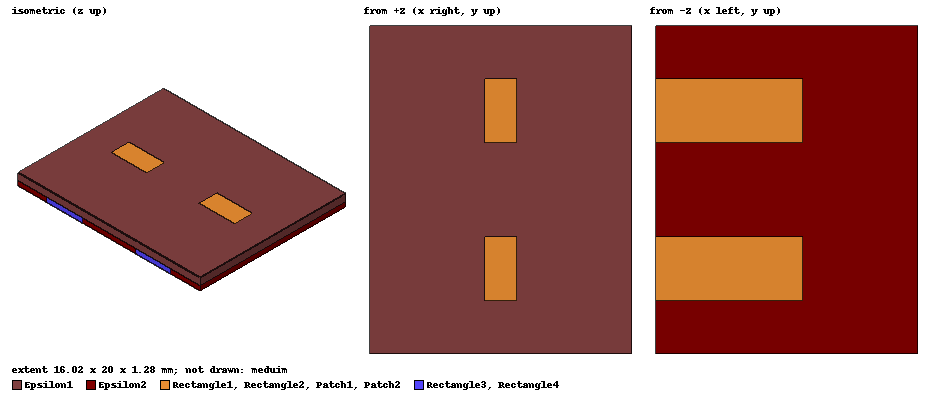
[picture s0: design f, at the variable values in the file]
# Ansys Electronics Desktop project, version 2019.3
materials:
  vacuum: permittivity=1
  Rogers RO3003 (tm): permittivity=3 dielectric_loss_tangent=0.0013
  FR4_epoxy: permittivity=4.4 dielectric_loss_tangent=0.02
  Rogers RO4350 (tm): permittivity=3.66 dielectric_loss_tangent=0.004
  air: permittivity=1.0006 permeability=1.0000004
  copper: permeability=0.999991 conductivity=58000000

design f (HFSS, DrivenModal, model units mm)
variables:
  L = 3.9mm
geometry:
  Ground = rectangle(corner=((-16/2) mm, (-20/2) mm, 0.5mm), x_size=16mm, y_size=20mm)
  Slot = rectangle(corner=((-0.3/2) mm, (-2.4/2-3.9/2-2.88) mm, 0.5mm), x_size=0.3mm, y_size=2.4mm)
  Ground.subtract(Slot)
  Epsilon2 [Rogers RO4350 (tm)] = box(corner=((-16/2) mm, (-20/2) mm, 0mm), size=(16mm, 20mm, 0.5mm))
  Epsilon1 [Rogers RO4350 (tm)] = box(corner=((-16/2) mm, (-20/2) mm, 0.5mm), size=(16mm, 20mm, 0.78mm))
  Patch1 = rectangle(corner=((-1.96/2) mm, -2.88mm, 1.28mm), x_size=1.96mm, y_size=-3.9mm)
  meduim [air] = box(corner=((-20/2) mm, (-50/2) mm, (-10/2) mm), size=(20mm, 50mm, 10mm))
  Patch2 = rectangle(corner=((-1.96/2) mm, 2.88mm, 1.28mm), x_size=1.96mm, y_size=3.9mm)
  Slot1 = rectangle(corner=((-0.3/2) mm, (-2.4/2+3.9/2+2.88) mm, 0.5mm), x_size=0.3mm, y_size=2.4mm)
  Ground.subtract(Slot1)
  Rectangle1 = rectangle(corner=((-1.96/2) mm, (-2.88-L/2 ) mm, 0mm), x_size=9mm, y_size=-L)
  Rectangle2 = rectangle(corner=((-1.96/2) mm, (2.88 +L/2) mm, 0mm), x_size=9mm, y_size=L)
  Rectangle3 = rectangle(corner=((16/2) mm, (L+2.88) mm, 0mm), y_size=L, z_size=0.5mm)
  Rectangle4 = rectangle(corner=((16/2) mm, (-L-2.88) mm, 0mm), y_size=-L, z_size=0.5mm)
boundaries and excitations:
  PerfE2: Perfect E Objects=Ground
  PerfE3: Perfect E Objects=Patch1
  Rad1: Radiation Objects=meduim
  PerfE4: Perfect E Objects=Patch2
  PerfE5: Perfect E Objects=[Rectangle1, Rectangle2]
  1: Lumped Port Objects=Rectangle3 Modes{Mode1{IntLine{middle of Rectangle3.edge(z at corner) -> middle of Rectangle3.edge(z opposite corner)} CharImp=Zpi RenormImp=50ohm}} Impedance=50ohm
  2: Lumped Port Objects=Rectangle4 Modes{Mode1{IntLine{Rectangle4.edge(z at corner) at 0.499 along -> middle of Rectangle4.edge(z opposite corner)} CharImp=Zpi RenormImp=50ohm}} Impedance=50ohm
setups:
  Setup1: HfssDriven Frequency=26GHz MaxDeltaS=0.02 MaximumPasses=6 MinimumPasses=1 MinimumConvergedPasses=1 PercentRefinement=30 BasisOrder=1 PortAccuracy=2
    sweep Sweep: 1GHz to 50GHz, 401 points; Type=Interpolating InterpTolerance=0.5 InterpMaxSolns=250 InterpUsePortImped=false PassivityErrorTolerance=0.0001
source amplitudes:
  1:1: 1W 0deg
  2:1: 0W 0deg
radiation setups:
  Infinite Sphere1: Infinite Sphere Theta=0deg..180deg step 2deg Phi=-180deg..180deg step 2deg
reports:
  Gain Plot 1: GainTotal vs Phi, Theta on Setup1 : LastAdaptive, Infinite Sphere1 [Freq=26GHz]
  S Parameter Chart 1: S(1,1) on Setup1 : Sweep [Freq=all]
  S Parameter Plot 1: dB(S(1,1)) vs Freq on Setup1 : Sweep; markers m1 at 10.555GHz, m2 at 14.5975GHz, m3 at 18.7625GHz, m4 at 29.5425GHz, m5 at 1.8575GHz, m6 at 37.015GHz, m7 at 28.685GHz, m8 at 16.19GHz
  Gain Plot 3: dB(GainTotal) vs Phi, Theta on Setup1 : LastAdaptive, Infinite Sphere1 [Freq=26GHz]
